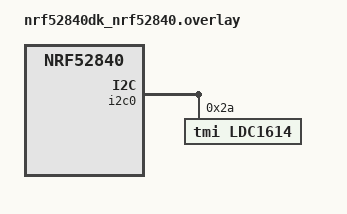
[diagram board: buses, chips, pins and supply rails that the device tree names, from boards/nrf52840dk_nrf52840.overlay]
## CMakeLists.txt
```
cmake_minimum_required(VERSION 3.20.0)
find_package(Zephyr REQUIRED HINTS $ENV{ZEPHYR_BASE})

project(unit)

target_sources(app PRIVATE 
src/main.c
)
```

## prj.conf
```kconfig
CONFIG_I2C=y
CONFIG_SENSOR=y
CONFIG_LOG=y
CONFIG_TMI_DRIVER_LDC1614=y


# Additional Debugging Settings
CONFIG_ASSERT=y
CONFIG_THREAD_NAME=y
CONFIG_SENSOR_LOG_LEVEL_DBG=y
```

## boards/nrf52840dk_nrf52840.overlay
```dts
&i2c0 {
	pinctrl-0 = <&i2c0_default>;
	pinctrl-1 = <&i2c0_sleep>;
	pinctrl-names = "default", "sleep";

	dev0: ldc1614@2a {
		compatible = "tmi,ldc1614";
		reg = <0x2a>;
		label = "LDC1614";
		status = "okay";

		ext-clk;

		rr-sequence = <0>;
		deglitch-bw = <5>;

		rcount = <0xffff 0xffff 0xffff 0xffff>;
		settlecount = <0x0010 0x0010 0x0010 0x0010>;
		fin-divider = <1 1 1 1>;
		fref-divider = <2 2 2 2>;
		idrive = <18 18 18 18>;
	};
};
```

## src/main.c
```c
#include <zephyr/kernel.h>
#include <zephyr/device.h>
#include <zephyr/drivers/sensor.h>
#include <zephyr/logging/log.h>
#include <math.h>

#define M_PI                 3.14159265358979323846
#define LDC1614_FCLK_HZ      43400000.0
#define LDC1614_FIN_DIVIDER  1.0
#define LDC1614_FREF_DIVIDER 1.0
#define LDC1614_TANK_CAP_PF  330.0

void ldc1614_convert_raw(uint32_t raw_data, double *freq_hz_out, double *ind_uh_out)
{
	if (raw_data == 0) {
		*freq_hz_out = 0.0;
		*ind_uh_out = 0.0;
		return;
	}
	double f_ref = LDC1614_FCLK_HZ / LDC1614_FREF_DIVIDER;
	double f_sensor_hz = ((double)raw_data * f_ref * LDC1614_FIN_DIVIDER) / 268435456.0;
	*freq_hz_out = f_sensor_hz;
	double f_sensor_mhz = f_sensor_hz / 1000000.0;
	double omega_mhz = 2.0 * M_PI * f_sensor_mhz;
	*ind_uh_out = 1000000.0 / (omega_mhz * omega_mhz * LDC1614_TANK_CAP_PF);
}

LOG_MODULE_REGISTER(main, LOG_LEVEL_INF);

int main(void)
{
	const struct device *ldc1614_dev = DEVICE_DT_GET(DT_NODELABEL(dev0));

	if (ldc1614_dev == NULL) {
		LOG_ERR("Failed to get LDC1614 device");
		return 0;
	}

	if (!device_is_ready(ldc1614_dev)) {
		LOG_ERR("LDC1614 device not ready");
		return 0;
	}
	k_msleep(1);

	while (1) {
		struct sensor_value val;
		k_sleep(K_MSEC(2000));
		int ret = sensor_sample_fetch(ldc1614_dev);
		if (ret != 0) {
			LOG_ERR("Failed to fetch sample: %d", ret);
			k_sleep(K_MSEC(1000));
			continue;
		}
		ret = sensor_channel_get(ldc1614_dev, SENSOR_CHAN_PROX, &val);
		if (ret != 0) {
			LOG_ERR("Failed to get channel data: %d", ret);
			k_sleep(K_MSEC(1000));
			continue;
		}
		LOG_INF("LDC1614 Raw Data: %d", val.val1);

		double fr = 0.0;
		double inductance = 0.0;

		ldc1614_convert_raw(val.val1, &fr, &inductance);
		uint32_t fr_int = (uint32_t)fr / 1000;
		uint32_t fr_rem = (uint32_t)fr % 1000;

		uint32_t inductance_int = (uint32_t)inductance;
		uint32_t inductance_rem = (uint32_t)((inductance - inductance_int) * (1000));

		LOG_INF("LDC1614 inductance %u.%03u uH", inductance_int, inductance_rem);
		LOG_INF("LDC1614 frequency  %u.%08u Hz", fr_int, fr_rem);

		k_sleep(K_MSEC(10));
	}
};
```
